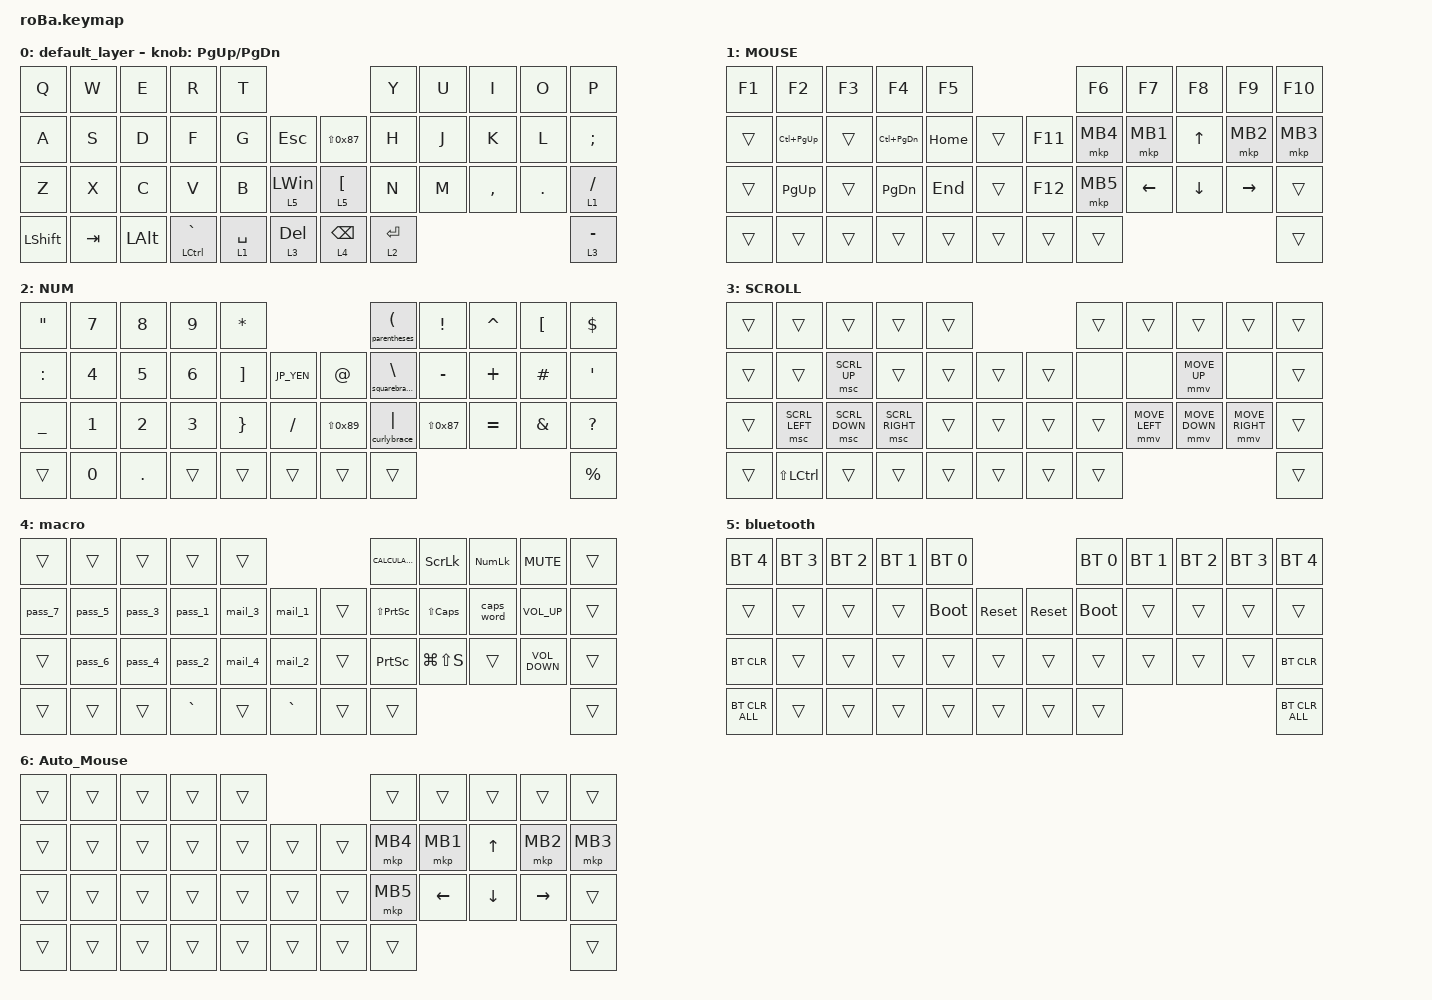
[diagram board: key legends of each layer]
//Input Processorを使用したオートマウスレイヤー

#include <input/processors.dtsi>
#include <behaviors.dtsi>
#include <dt-bindings/zmk/bt.h>
#include <dt-bindings/zmk/keys.h>
#include <dt-bindings/zmk/pointing.h>

//&mkp_input_listener { input-processors = <&zip_temp_layer 6 750>; };
&mkp_input_listener { input-processors = <&zip_temp_layer 6 500>; };

//END
// OS設定を日本語キーボードのまま使用するための変換定義

#define JP_DQUOTE       AT                // "
#define JP_AMPERSAND    CARET             // &
#define JP_QUOTE        AMPERSAND         // '
#define JP_EQUAL        UNDER             // =
#define JP_CARET        EQUAL             // ^
#define JP_YEN          0x89              // ¥
#define JP_PLUS         COLON             // +
#define JP_TILDE        PLUS              // ~
#define JP_PIPE         LS(0x89)          // |
#define JP_AT           LEFT_BRACKET      // @
#define JP_COLON        SINGLE_QUOTE      // :
#define JP_ASTERISK     DOUBLE_QUOTES     // *
#define JP_BACKQUOTE    LEFT_BRACE        // `
#define JP_UNDERSCORE   LS(0x87)          // _
#define JP_LBRACKET     RIGHT_BRACKET     // [
#define JP_RBRACKET     BACKSLASH         // ]
#define JP_LPAREN       ASTERISK          // (
#define JP_RPAREN       LEFT_PARENTHESIS  // )
#define JP_LBRACE       RIGHT_BRACE       // {
#define JP_RBRACE       PIPE              // }
#define JP_KANA         LANGUAGE_1        // かな
#define JP_EISU         LANGUAGE_2        // 英数
#define JP_HANZEN       GRAVE             // 半角/全角

&mt {
    flavor = "balanced";
    quick-tap-ms = <0>;
};

&trackball {
    //Input Processorを使用したオートマウスレイヤーに変更するのでコメントアウト
    //    automouse-layer = <6>;
    //    scroll-layers = <3>;
    // END
    // arrows {
    //     layers = <3>;
    //     bindings =
    //         <&kp RIGHT_ARROW>,
    //         <&kp LEFT_ARROW>,
    //         <&kp UP_ARROW>,
    //         <&kp DOWN_ARROW>;
    //     tick = <10>;
    //     wait-ms = <5>;
    //     tap-ms = <5>;
    // };
};

/ {
    combos {
        compatible = "zmk,combos";

        tab {
            bindings = <&kp TAB>;
            key-positions = <11 12>;
        };

        shift_tab {
            bindings = <&kp LS(TAB)>;
            key-positions = <12 13>;
        };

        double_quotation {
            bindings = <&kp JP_DQUOTE>;
            key-positions = <20 21>;
        };

        eq {
            bindings = <&kp JP_EQUAL>;
            key-positions = <24 25>;
        };
    };

    macros {
        to_layer_0: to_layer_0 {
            compatible = "zmk,behavior-macro-one-param";
            #binding-cells = <1>;
            bindings = <&to 0 &macro_param_1to1 &kp MACRO_PLACEHOLDER>;
            label = "TO_LAYER_0";
        };

        mail_1: macro_0 {
            compatible = "zmk,behavior-macro";
            #binding-cells = <0>;

            // arai_akira@nec.com

            bindings = <&kp LANGUAGE_2 &kp A &kp R &kp A &kp I &kp JP_UNDERSCORE &kp A &kp K &kp I &kp R &kp A &kp LEFT_BRACKET &kp N &kp E &kp C &kp DOT &kp C &kp O &kp M>;
            label = "MACRO_0";
        };

        mail_2: macro_1 {
            compatible = "zmk,behavior-macro";
            #binding-cells = <0>;

            // akira-arai@nec.com

            bindings = <&kp LANGUAGE_2 &kp A &kp K &kp I &kp R &kp A &kp MINUS &kp A &kp R &kp A &kp I &kp JP_AT &kp N &kp E &kp C &kp DOT &kp C &kp O &kp M>;
            label = "MACRO_1";
        };

        mail_3: macro_2 {
            compatible = "zmk,behavior-macro";
            #binding-cells = <0>;

            // volvo_v70_1999@yahoo.co.jp

            bindings = <&kp LANGUAGE_2 &kp V &kp O &kp L &kp V &kp O &kp JP_UNDERSCORE &kp V &kp N7 &kp N0 &kp JP_UNDERSCORE &kp N1 &kp N9 &kp N9 &kp N9 &kp LEFT_BRACKET &kp Y &kp A &kp H &kp O &kp O &kp DOT &kp C &kp O &kp DOT &kp J &kp P>;
            label = "MACRO_2";
        };

        mail_4: macro_3 {
            compatible = "zmk,behavior-macro";
            #binding-cells = <0>;

            // volvo.v70.1999@gmail.com

            bindings = <&kp LANGUAGE_2 &kp V &kp O &kp L &kp V &kp O &kp DOT &kp V &kp N7 &kp N0 &kp DOT &kp N1 &kp N9 &kp N9 &kp N9 &kp LEFT_BRACKET &kp G &kp M &kp A &kp I &kp L &kp DOT &kp C &kp O &kp M>;
            label = "MACRO_3";
        };

        pass_1: macro_4 {
            compatible = "zmk,behavior-macro";
            #binding-cells = <0>;

            // Ep0s6_zip

            bindings = <&kp LANGUAGE_2 &kp LS(E) &kp P &kp N0 &kp S &kp N6 &kp JP_UNDERSCORE &kp Z &kp I &kp P>;
            label = "MACRO_4";
        };

        pass_2: macro_5 {
            compatible = "zmk,behavior-macro";
            #binding-cells = <0>;

            // Ep0s7!_zip

            bindings = <&kp LANGUAGE_2 &kp LS(E) &kp P &kp N0 &kp S &kp N7 &kp EXCL &kp JP_UNDERSCORE &kp LS(Z) &kp LS(I) &kp LS(P)>;
            label = "MACRO_5";
        };

        pass_3: macro_6 {
            compatible = "zmk,behavior-macro";
            #binding-cells = <0>;

            // v0is4!_ZIP

            bindings = <&kp LANGUAGE_2 &kp V &kp N0 &kp I &kp S &kp N4 &kp EXCL &kp JP_UNDERSCORE &kp LS(Z) &kp LS(I) &kp LS(P)>;
            label = "MACRO_6";
        };

        pass_4: macro_7 {
            compatible = "zmk,behavior-macro";
            #binding-cells = <0>;

            // aakira05q

            bindings = <&kp LANGUAGE_2 &kp A &kp A &kp K &kp I &kp R &kp A &kp N0 &kp N5 &kp Q>;
            label = "MACRO_7";
        };

        pass_5: macro_8 {
            compatible = "zmk,behavior-macro";
            #binding-cells = <0>;

            // Aakira0502@

            bindings = <&kp LANGUAGE_2 &kp LS(A) &kp A &kp K &kp I &kp R &kp A &kp N0 &kp N5 &kp N0 &kp N2 &kp LEFT_BRACKET>;
            label = "MACRO_8";
        };

        pass_6: macro_9 {
            compatible = "zmk,behavior-macro";
            #binding-cells = <0>;

            // Aakira05@

            bindings = <&kp LANGUAGE_2 &kp LS(A) &kp A &kp K &kp I &kp R &kp A &kp N0 &kp N5 &kp LEFT_BRACKET>;
            label = "MACRO_9";
        };

        pass_7: macro_10 {
            compatible = "zmk,behavior-macro";
            #binding-cells = <0>;

            // Estima0502@

            bindings = <&kp LANGUAGE_2 &kp LS(E) &kp S &kp T &kp I &kp M &kp A &kp N0 &kp N5 &kp N0 &kp N2 &kp LEFT_BRACKET>;
            label = "MACRO_10";
        };

        parentheses: parentheses {
            compatible = "zmk,behavior-macro";
            #binding-cells = <0>;
            bindings = <&kp JP_LPAREN &kp JP_RPAREN &kp LEFT_ARROW>;
            label = "PARENTHESES";
        };

        squarebracket: squarebracket {
            compatible = "zmk,behavior-macro";
            #binding-cells = <0>;
            bindings = <&kp JP_LBRACKET &kp JP_RBRACKET &kp LEFT_ARROW>;
            label = "SQUARE BRACKET";
        };

        curlybrace: curlybrace {
            compatible = "zmk,behavior-macro";
            #binding-cells = <0>;
            bindings = <&kp JP_LBRACE &kp JP_RBRACE &kp LEFT_ARROW>;
            label = "CURLY BRACE";
        };
    };

    behaviors {
        lt_to_layer_0: lt_to_layer_0 {
            compatible = "zmk,behavior-hold-tap";
            label = "LAYER_TAP_TO_0";
            bindings = <&mo>, <&to_layer_0>;

            #binding-cells = <2>;
            tapping-term-ms = <200>;
        };

        etc_lt: etc_layer {
            compatible = "zmk,behavior-hold-tap";
            #binding-cells = <2>;
            flavor = "balanced";
            tapping-term-ms = <200>;
            quick-tap-ms = <175>;
            bindings = <&mo>, <&kp>;
        };

        space_lt: space_layer {
            compatible = "zmk,behavior-hold-tap";
            #binding-cells = <2>;
            flavor = "balanced";
            hold-trigger-on-release;
            tapping-term-ms = <200>;
            quick-tap-ms = <175>;
            bindings = <&mo>, <&kp>;

            hold-trigger-key-positions = <17 18 19 20 21 29 30 31 32>;
        };

        enter_lt: enter_layer {
            compatible = "zmk,behavior-hold-tap";
            #binding-cells = <2>;
            flavor = "balanced";
            hold-trigger-on-release;
            tapping-term-ms = <200>;
            quick-tap-ms = <175>;
            bindings = <&mo>, <&kp>;
        };

        backspace_lt: backspace_layer {
            compatible = "zmk,behavior-hold-tap";
            #binding-cells = <2>;
            flavor = "balanced";
            tapping-term-ms = <175>;
            quick-tap-ms = <200>;
            bindings = <&mo>, <&kp>;
        };

        paren_ht: paren_holdtap {
            compatible = "zmk,behavior-hold-tap";
            #binding-cells = <2>;
            flavor = "balanced";
            tapping-term-ms = <200>;
            bindings = <&parentheses>, <&kp>;
        };

        rbracket_ht: rbracket_holdtap {
            compatible = "zmk,behavior-hold-tap";
            #binding-cells = <2>;
            flavor = "balanced";
            tapping-term-ms = <200>;
            bindings = <&squarebracket>, <&kp>;
        };

        rbrace_ht: rbrace_holdtap {
            compatible = "zmk,behavior-hold-tap";
            #binding-cells = <2>;
            flavor = "balanced";
            tapping-term-ms = <200>;
            bindings = <&curlybrace>, <&kp>;
        };
    };

    keymap {
        compatible = "zmk,keymap";

        default_layer {
            bindings = <
&kp Q           &kp W    &kp E         &kp R            &kp T                                                                 &kp Y              &kp U  &kp I      &kp O    &kp P
&kp A           &kp S    &kp D         &kp F            &kp G              &kp ESC                 &kp JP_UNDERSCORE          &kp H              &kp J  &kp K      &kp L    &kp SEMICOLON
&kp Z           &kp X    &kp C         &kp V            &kp B              &etc_lt 5 LEFT_WIN      &etc_lt 5 JP_AT            &kp N              &kp M  &kp COMMA  &kp DOT  &lt 1 SLASH
&kp LEFT_SHIFT  &kp TAB  &kp LEFT_ALT  &mt LCTRL GRAVE  &space_lt 1 SPACE  &etc_lt 3 DEL           &backspace_lt 4 BACKSPACE  &enter_lt 2 ENTER                             &lt 3 MINUS
            >;

            sensor-bindings = <&inc_dec_kp PG_UP PAGE_DOWN>;
        };

        MOUSE {
            bindings = <
&kp F1  &kp F2           &kp F3  &kp F4             &kp F5                         &kp F6    &kp F7          &kp F8          &kp F9           &kp F10
&trans  &kp LC(PAGE_UP)  &trans  &kp LC(PAGE_DOWN)  &kp HOME  &trans      &kp F11  &mkp MB4  &mkp MB1        &kp UP_ARROW    &mkp MB2         &mkp MB3
&trans  &kp PAGE_UP      &trans  &kp PAGE_DOWN      &kp END   &trans      &kp F12  &mkp MB5  &kp LEFT_ARROW  &kp DOWN_ARROW  &kp RIGHT_ARROW  &trans
&trans  &trans           &trans  &trans             &trans    &trans      &trans   &trans                                                     &trans
            >;
        };

        NUM {
            bindings = <
&kp JP_ASTERISK  &kp NUMBER_7  &kp NUMBER_8  &kp NUMBER_9  &kp JP_LPAREN                                   &paren_ht 0 JP_RPAREN       &kp EXCLAMATION    &kp JP_AMPERSAND  &kp JP_AT     &kp DOLLAR
&kp JP_PLUS      &kp NUMBER_4  &kp NUMBER_5  &kp NUMBER_6  &kp JP_LBRACKET  &kp JP_YEN      &kp JP_DQUOTE  &rbracket_ht 0 JP_RBRACKET  &kp MINUS          &kp JP_TILDE      &kp HASH      &kp JP_COLON
&kp JP_EQUAL     &kp NUMBER_1  &kp NUMBER_2  &kp NUMBER_3  &kp JP_LBRACE    &kp SLASH       &kp JP_PIPE    &rbrace_ht 0 JP_RBRACE      &kp JP_UNDERSCORE  &kp JP_CARET      &kp JP_QUOTE  &kp QUESTION
&trans           &kp NUMBER_0  &kp DOT       &trans        &trans           &trans          &trans         &trans                                                                         &kp PERCENT
            >;
        };

        SCROLL {
            bindings = <
&trans  &trans          &trans          &trans           &trans                      &trans  &trans          &trans          &trans           &trans
&trans  &trans          &msc SCRL_UP    &trans           &trans  &trans      &trans  &none   &none           &mmv MOVE_UP    &none            &trans
&trans  &msc SCRL_LEFT  &msc SCRL_DOWN  &msc SCRL_RIGHT  &trans  &trans      &trans  &trans  &mmv MOVE_LEFT  &mmv MOVE_DOWN  &mmv MOVE_RIGHT  &trans
&trans  &kp LS(LCTRL)   &trans          &trans           &trans  &trans      &trans  &trans                                                   &trans
            >;
        };

        macro {
            bindings = <
&trans   &trans   &trans   &trans     &trans                          &kp K_CALCULATOR     &kp SCROLLLOCK    &kp KP_NUMLOCK  &kp C_MUTE         &trans
&pass_7  &pass_5  &pass_3  &pass_1    &mail_3  &mail_1        &trans  &kp LS(PRINTSCREEN)  &kp LS(CAPSLOCK)  &caps_word      &kp C_VOLUME_UP    &trans
&trans   &pass_6  &pass_4  &pass_2    &mail_4  &mail_2        &trans  &kp PRINTSCREEN      &kp LG(LS(S))     &trans          &kp C_VOLUME_DOWN  &trans
&trans   &trans   &trans   &kp GRAVE  &trans   &kp GRAVE      &trans  &trans                                                                    &trans
            >;
        };

        bluetooth {
            bindings = <
&bt BT_SEL 4    &bt BT_SEL 3  &bt BT_SEL 2  &bt BT_SEL 1  &bt BT_SEL 0                              &bt BT_SEL 0  &bt BT_SEL 1  &bt BT_SEL 2  &bt BT_SEL 3  &bt BT_SEL 4
&trans          &trans        &trans        &trans        &bootloader   &sys_reset      &sys_reset  &bootloader   &trans        &trans        &trans        &trans
&bt BT_CLR      &trans        &trans        &trans        &trans        &trans          &trans      &trans        &trans        &trans        &trans        &bt BT_CLR
&bt BT_CLR_ALL  &trans        &trans        &trans        &trans        &trans          &trans      &trans                                                  &bt BT_CLR_ALL
            >;
        };

        Auto_Mouse {
            bindings = <
&trans  &trans  &trans  &trans  &trans                      &trans    &trans          &trans          &trans           &trans
&trans  &trans  &trans  &trans  &trans  &trans      &trans  &mkp MB4  &mkp MB1        &kp UP_ARROW    &mkp MB2         &mkp MB3
&trans  &trans  &trans  &trans  &trans  &trans      &trans  &mkp MB5  &kp LEFT_ARROW  &kp DOWN_ARROW  &kp RIGHT_ARROW  &trans
&trans  &trans  &trans  &trans  &trans  &trans      &trans  &trans                                                     &trans
            >;
        };
    };
};
